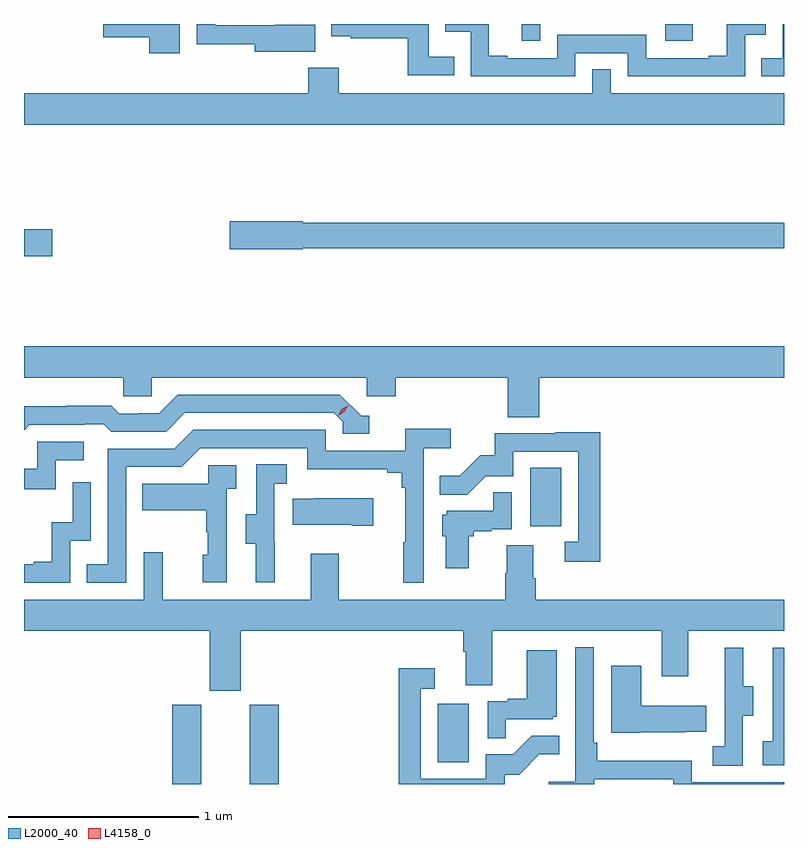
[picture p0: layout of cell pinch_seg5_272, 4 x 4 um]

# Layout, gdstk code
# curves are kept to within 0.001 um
import gdstk
lib = gdstk.Library(unit=1e-6, precision=1e-09)
def R(c, l, rs):  # rectangles x0, y0, x1, y1
    for r in rs: c.add(gdstk.rectangle(r[:2], r[2:], *l))
def P(c, l, *ps):  # polygons
    for p in ps: c.add(gdstk.Polygon(p, *l))
L2000_40 = (2000, 40)
L4158_0 = (4158, 0)

pinch_seg5_272 = lib.new_cell('pinch_seg5_272')
R(pinch_seg5_272, L2000_40, [(890.306,895.913,890.458,896.331), (890.714,895.913,890.867,896.331), (891.704,896.028,891.868,896.335), (892.19,897.27,892.354,897.577), (889.526,898.69,889.675,898.832), (892.145,899.826,892.242,899.913), (892.901,899.826,893.045,899.913)])
P(pinch_seg5_272, L2000_40, [(891.059,899.908),(890.845,899.908),(890.845,899.907),(890.532,899.907),(890.532,899.913),(890.436,899.913),(890.436,899.806),(890.741,899.806),(890.741,899.768),(891.059,899.768)],
  [(891.791,899.74),(891.657,899.74),(891.657,899.913),(891.144,899.913),(891.144,899.849),(891.247,899.849),(891.247,899.838),(891.546,899.838),(891.546,899.643),(891.791,899.643)],
  [(893.526,899.913),(893.52,899.913),(893.52,899.733),(893.407,899.733),(893.407,899.637),(893.526,899.637)],
  [(890.347,899.913),(889.944,899.913),(889.944,899.842),(890.186,899.842),(890.186,899.76),(890.347,899.76)],
  [(892.428,899.76),(892.704,899.76),(892.704,899.637),(893.322,899.637),(893.322,899.856),(893.43,899.856),(893.43,899.913),(893.225,899.913),(893.225,899.746),(893.129,899.746),(893.129,899.733),(892.8,899.733),(892.8,899.856),(892.332,899.856),(892.332,899.733),(892.069,899.733),(892.069,899.746),(891.973,899.746),(891.973,899.913),(891.744,899.913),(891.744,899.873),(891.876,899.873),(891.876,899.637),(892.428,899.637)],
  [(893.526,899.548),(892.614,899.548),(892.614,899.675),(892.518,899.675),(892.518,899.548),(891.183,899.548),(891.183,899.683),(891.023,899.683),(891.023,899.548),(889.526,899.548),(889.526,899.384),(893.526,899.384)],
  [(890.994,898.732),(893.526,898.732),(893.526,898.868),(890.994,898.868),(890.994,898.874),(890.61,898.874),(890.61,898.727),(890.994,898.727)],
  [(892.238,898.052),(893.526,898.052),(893.526,898.216),(889.526,898.216),(889.526,898.052),(890.049,898.052),(890.049,897.954),(890.199,897.954),(890.199,898.052),(891.33,898.052),(891.33,897.954),(891.482,897.954),(891.482,898.052),(892.073,898.052),(892.073,897.844),(892.238,897.844)],
  [(891.343,897.852),(891.3,897.852),(891.189,897.963),(890.336,897.963),(890.237,897.864),(890.13,897.864),(890.13,897.861),(890.027,897.861),(889.985,897.904),(889.752,897.904),(889.752,897.901),(889.526,897.901),(889.526,897.776),(889.554,897.804),(889.847,897.804),(889.847,897.807),(889.946,897.807),(889.985,897.768),(890.274,897.768),(890.373,897.867),(891.156,897.867),(891.204,897.819),(891.204,897.756),(891.343,897.756)],
  [(890.064,897.582),(890.355,897.582),(890.454,897.681),(891.018,897.681),(891.018,897.569),(891.437,897.569),(891.437,897.55),(891.514,897.55),(891.514,897.473),(891.533,897.473),(891.533,897.185),(891.522,897.185),(891.522,896.973),(891.63,896.973),(891.63,897.68),(891.772,897.68),(891.772,897.782),(891.533,897.782),(891.533,897.666),(891.114,897.666),(891.114,897.777),(890.417,897.777),(890.318,897.678),(889.968,897.678),(889.968,897.069),(889.855,897.069),(889.855,896.973),(890.064,896.973)],
  [(892.559,897.764),(892.321,897.764),(892.321,897.759),(892.003,897.759),(892.003,897.642),(891.926,897.642),(891.819,897.535),(891.715,897.535),(891.715,897.436),(891.859,897.436),(891.957,897.534),(892.101,897.534),(892.101,897.663),(892.443,897.663),(892.443,897.189),(892.371,897.189),(892.371,897.084),(892.559,897.084)],
  [(889.692,897.618),(889.84,897.618),(889.84,897.714),(889.596,897.714),(889.596,897.573),(889.526,897.573),(889.526,897.465),(889.692,897.465)],
  [(890.846,897.189),(890.844,897.189),(890.844,897.493),(890.908,897.493),(890.908,897.596),(890.748,897.596),(890.748,897.333),(890.693,897.333),(890.693,897.178),(890.747,897.178),(890.747,896.976),(890.846,896.976)],
  [(890.592,897.467),(890.644,897.467),(890.644,897.591),(890.496,897.591),(890.496,897.493),(890.149,897.493),(890.149,897.353),(890.484,897.353),(890.484,897.239),(890.494,897.239),(890.494,897.12),(890.468,897.12),(890.468,896.976),(890.592,896.976)],
  [(889.77,897.192),(889.878,897.192),(889.878,897.502),(889.782,897.502),(889.782,897.29),(889.673,897.29),(889.673,897.082),(889.577,897.082),(889.577,897.069),(889.526,897.069),(889.526,896.973),(889.77,896.973)],
  [(891.868,897.216),(891.894,897.216),(891.894,897.243),(891.986,897.243),(891.986,897.255),(892.092,897.255),(892.092,897.449),(891.997,897.449),(891.997,897.351),(891.75,897.351),(891.75,897.33),(891.728,897.33),(891.728,897.216),(891.746,897.216),(891.746,897.048),(891.868,897.048)],
  [(891.364,897.418),(891.049,897.418),(891.049,897.415),(890.941,897.415),(890.941,897.278),(891.251,897.278),(891.251,897.271),(891.364,897.271)],
  [(892.067,897.17),(892.067,897.021),(892.06,897.021),(892.06,896.884),(891.183,896.884),(891.183,897.124),(891.035,897.124),(891.035,896.884),(890.255,896.884),(890.255,897.133),(890.157,897.133),(890.157,896.884),(889.526,896.884),(889.526,896.72),(890.504,896.72),(890.504,896.403),(890.668,896.403),(890.668,896.72),(891.839,896.72),(891.839,896.608),(891.851,896.608),(891.851,896.434),(891.991,896.434),(891.991,896.72),(892.883,896.72),(892.883,896.481),(893.023,896.481),(893.023,896.72),(893.526,896.72),(893.526,896.884),(892.22,896.884),(892.22,896.996),(892.207,896.996),(892.207,897.17)],
  [(892.526,895.938),(892.944,895.938),(892.944,895.913),(893.526,895.913),(893.526,895.923),(893.04,895.923),(893.04,896.035),(892.544,896.035),(892.544,896.131),(892.524,896.131),(892.524,896.632),(892.428,896.632),(892.428,895.924),(892.287,895.924),(892.287,895.913),(892.526,895.913)],
  [(893.526,896.629),(893.466,896.629),(893.466,896.138),(893.415,896.138),(893.415,896.013),(893.526,896.013)],
  [(893.31,896.272),(893.365,896.272),(893.365,896.427),(893.311,896.427),(893.311,896.629),(893.213,896.629),(893.213,896.415),(893.214,896.415),(893.214,896.111),(893.151,896.111),(893.151,896.008),(893.31,896.008)],
  [(892.061,896.253),(892.308,896.253),(892.308,896.268),(892.33,896.268),(892.33,896.617),(892.172,896.617),(892.172,896.362),(892.073,896.362),(892.073,896.349),(891.966,896.349),(891.966,896.155),(892.061,896.155)],
  [(892.77,896.186),(893.009,896.186),(893.009,896.189),(893.117,896.189),(893.117,896.326),(892.774,896.326),(892.774,896.536),(892.616,896.536),(892.616,896.183),(892.77,896.183)],
  [(892.056,895.962),(892.132,895.962),(892.239,896.069),(892.343,896.069),(892.343,896.168),(892.199,896.168),(892.101,896.07),(891.957,896.07),(891.957,895.941),(891.615,895.941),(891.615,896.415),(891.688,896.415),(891.688,896.521),(891.499,896.521),(891.499,895.913),(892.056,895.913)])
P(pinch_seg5_272, L4158_0, [(891.181,897.852),(891.181,897.852),(891.198,897.885),(891.229,897.904),(891.229,897.904),(891.229,897.904),(891.212,897.871),(891.181,897.852)])

lib.write_gds('pinch_seg5_272.gds')
